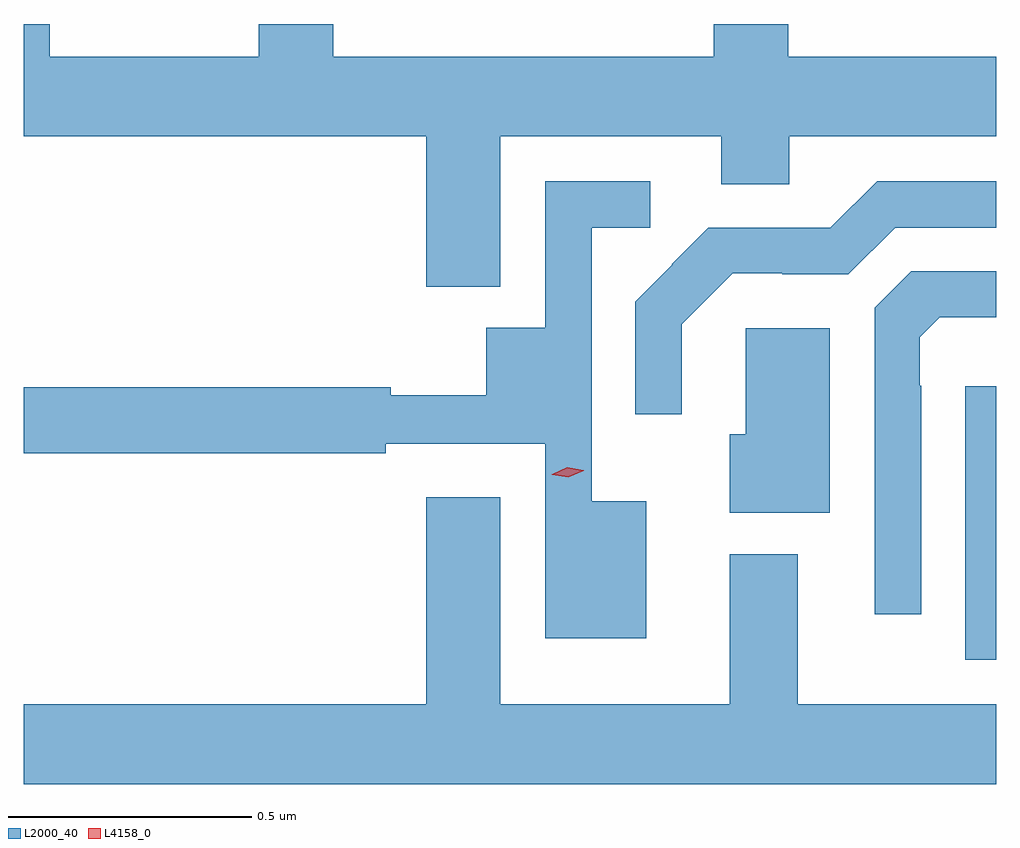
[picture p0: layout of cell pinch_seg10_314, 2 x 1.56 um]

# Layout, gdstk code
import gdstk
lib = gdstk.Library(unit=1e-6, precision=1e-09)
def R(c, l, rs):  # rectangles x0, y0, x1, y1
    for r in rs: c.add(gdstk.rectangle(r[:2], r[2:], *l))
def P(c, l, *ps):  # polygons
    for p in ps: c.add(gdstk.Polygon(p, *l))
L2000_40 = (2000, 40)
L4158_0 = (4158, 0)

pinch_seg10_314 = lib.new_cell('pinch_seg10_314')
R(pinch_seg10_314, L2000_40, [(456.222,1313.892,456.286,1314.454)])
P(pinch_seg10_314, L2000_40, [(455.266,1314.968),(455.72,1314.968),(455.72,1314.869),(455.86,1314.869),(455.86,1314.968),(456.286,1314.968),(456.286,1315.132),(455.858,1315.132),(455.858,1315.199),(455.705,1315.199),(455.705,1315.132),(454.922,1315.132),(454.922,1315.199),(454.769,1315.199),(454.769,1315.132),(454.339,1315.132),(454.339,1315.199),(454.286,1315.199),(454.286,1314.968),(455.114,1314.968),(455.114,1314.659),(455.266,1314.659)],
  [(455.566,1314.217),(455.454,1314.217),(455.454,1314.78),(455.574,1314.78),(455.574,1314.876),(455.358,1314.876),(455.358,1314.574),(455.237,1314.574),(455.237,1314.435),(455.041,1314.435),(455.041,1314.452),(454.286,1314.452),(454.286,1314.316),(455.03,1314.316),(455.03,1314.336),(455.358,1314.336),(455.358,1313.936),(455.566,1313.936)],
  [(455.639,1314.581),(455.744,1314.686),(455.846,1314.686),(455.846,1314.684),(455.982,1314.684),(456.078,1314.78),(456.286,1314.78),(456.286,1314.876),(456.041,1314.876),(455.945,1314.78),(455.694,1314.78),(455.619,1314.705),(455.62,1314.704),(455.544,1314.628),(455.544,1314.396),(455.639,1314.396)],
  [(456.132,1314.455),(456.129,1314.455),(456.129,1314.555),(456.17,1314.596),(456.286,1314.596),(456.286,1314.69),(456.111,1314.69),(456.036,1314.615),(456.036,1313.985),(456.132,1313.985)],
  [(455.944,1314.573),(455.771,1314.573),(455.771,1314.355),(455.738,1314.355),(455.738,1314.194),(455.944,1314.194)],
  [(456.286,1313.8),(455.878,1313.8),(455.878,1314.109),(455.738,1314.109),(455.738,1313.8),(455.266,1313.8),(455.266,1314.226),(455.114,1314.226),(455.114,1313.8),(454.286,1313.8),(454.286,1313.636),(456.286,1313.636)])
P(pinch_seg10_314, L4158_0, [(455.406,1314.267),(455.373,1314.272),(455.372,1314.273),(455.373,1314.273),(455.404,1314.287),(455.438,1314.281),(455.438,1314.281),(455.438,1314.28)])

lib.write_gds('pinch_seg10_314.gds')
